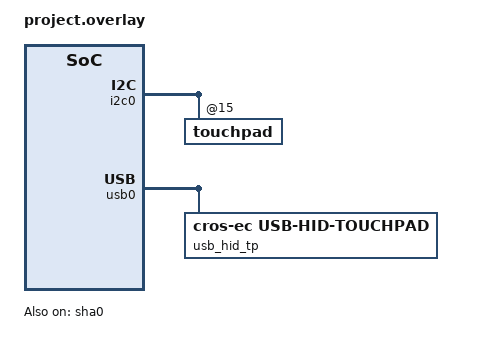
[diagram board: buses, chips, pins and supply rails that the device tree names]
/* Copyright 2023 The ChromiumOS Authors
 * Use of this source code is governed by a BSD-style license that can be
 * found in the LICENSE file.
 */

/* Roach program common DTS includes */

#include <cros/touchpad_hashes.dtsi>

#include "../gpio.dtsi"
#include "../uart.dtsi"
#include "../i2c.dtsi"
#include "../interrupts.dtsi"
#include "../keyboard.dtsi"
#include "../pwm.dtsi"
#include "../rwsig.dtsi"

/ {
	aliases {
		usb-hid-tp = &usb_hid_tp;
	};

	hid_kb_dev: hid_kb_dev {
		compatible = "zephyr,hid-device";
		interface-name = "HID0";
		protocol-code = "keyboard";
		in-polling-rate = <1>;
		in-report-size = <64>;
	};

	hid_tp_dev: hid_tp_dev {
		compatible = "zephyr,hid-device";
		interface-name = "HID1";
		protocol-code = "none";
		in-polling-rate = <1>;
		in-report-size = <64>;
	};
};

&i2c0 {
	touchpad@15 {
		/* not tested, don't care on reference board */
		logical_max_x = <2644>;
		logical_max_y = <1440>;
		physical_max_x = <839>;
		physical_max_y = <457>;
	};
};

&touchpad_fw_hashes {
	size = <((65536 / 1024) * 32)>;
};

&sha0 {
	status = "okay";
};

zephyr_udc0: &usb0 {
	status = "okay";
	pinctrl-0 = <&usb0_dm_gph5_default
		     &usb0_dp_gph6_default>;
	pinctrl-names = "default";

	usb_hid_tp: usb-hid-tp {
		compatible = "cros-ec,usb-hid-touchpad";

		/* TODO: find a way to probe touchpad parameters
		 * dynamically.
		 */
		logical_max_x = <2925>;
		logical_max_y = <1440>;
		physical_max_x = <929>;
		physical_max_y = <457>;
		max_pressure = <511>;
	};
};
